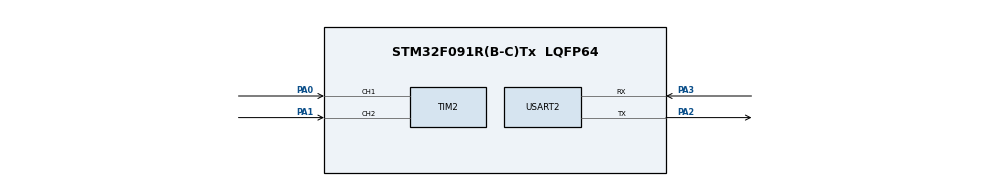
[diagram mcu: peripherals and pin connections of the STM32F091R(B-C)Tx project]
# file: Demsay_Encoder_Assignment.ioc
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Mcu.Family=STM32F0
Mcu.Name=STM32F091R(B-C)Tx
Mcu.Package=LQFP64
NVIC.TIM3_IRQn=true\:0\:0\:false\:false\:true\:true\:true\:true
PA0.Signal=S_TIM2_CH1_ETR
PA1.Signal=S_TIM2_CH2
PA13.Mode=Serial_Wire
PA13.Signal=SYS_SWDIO
PA14.Mode=Serial_Wire
PA14.Signal=SYS_SWCLK
PA2.Mode=Asynchronous
PA2.Signal=USART2_TX
PA3.Mode=Asynchronous
PA3.Signal=USART2_RX
ProjectManager.HeapSize=0x200
ProjectManager.StackSize=0x400
ProjectManager.TargetToolchain=STM32CubeIDE
SH.S_TIM2_CH1_ETR.0=TIM2_CH1,Encoder_Interface
SH.S_TIM2_CH2.0=TIM2_CH2,Encoder_Interface
TIM2.EncoderMode=TIM_ENCODERMODE_TI12
TIM2.IC1Filter=4
TIM2.IC2Filter=4
TIM3.Period=999
TIM3.Prescaler=7999
USART2.VirtualMode-Asynchronous=VM_ASYNC
VP_TIM3_VS_ClockSourceINT.Mode=Internal
board=custom

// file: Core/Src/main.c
/* USER CODE BEGIN Header */
/**
  ******************************************************************************
  * @file           : main.c
  * @brief          : Main program body
  ******************************************************************************
  * @attention
  *
  * Copyright (c) 2026 STMicroelectronics.
  * All rights reserved.
  *
  * This software is licensed under terms that can be found in the LICENSE file
  * in the root directory of this software component.
  * If no LICENSE file comes with this software, it is provided AS-IS.
  *
  ******************************************************************************
  */
/* USER CODE END Header */
#include "main.h"
#include "tim.h"
#include "usart.h"
#include "gpio.h"

/* USER CODE BEGIN Includes */

#include "encoder.h"
#include <stdio.h>

/* USER CODE END Includes */

/* USER CODE BEGIN PV */

static EncoderData_t encoder_data;
static volatile uint8_t measurement_due = 0U;
static char uart_tx_buffer[128];

/* USER CODE END PV */

void SystemClock_Config(void);
/* USER CODE BEGIN PFP */

static void Encoder_ProcessAndTransmit(void);

/* USER CODE END PFP */

int main(void)
{

  /* MCU Configuration--------------------------------------------------------*/

  /* Reset of all peripherals, Initializes the Flash interface and the Systick. */
  HAL_Init();

  /* Configure the system clock */
  SystemClock_Config();

  /* Initialize all configured peripherals */
  MX_GPIO_Init();
  MX_TIM2_Init();
  MX_TIM3_Init();
  MX_USART2_UART_Init();
  /* USER CODE BEGIN 2 */

  __HAL_TIM_SET_COUNTER(&htim2, 0U);
  Encoder_Init(&encoder_data, __HAL_TIM_GET_COUNTER(&htim2));

  if (HAL_TIM_Encoder_Start(&htim2, TIM_CHANNEL_ALL) != HAL_OK)
  {
      Error_Handler();
  }

  if (HAL_TIM_Base_Start_IT(&htim3) != HAL_OK)
  {
      Error_Handler();
  }
  /* USER CODE END 2 */

  /* Infinite loop */
  while (1)
  {

    /* USER CODE BEGIN 3 */

	  if (measurement_due != 0U)
	  {
	      measurement_due = 0U;
	      Encoder_ProcessAndTransmit();
	  }
  }
  /* USER CODE END 3 */
}

void SystemClock_Config(void)
{
  RCC_OscInitTypeDef RCC_OscInitStruct = {0};
  RCC_ClkInitTypeDef RCC_ClkInitStruct = {0};
  RCC_PeriphCLKInitTypeDef PeriphClkInit = {0};

  /** Initializes the RCC Oscillators according to the specified parameters
  * in the RCC_OscInitTypeDef structure.
  */
  RCC_OscInitStruct.OscillatorType = RCC_OSCILLATORTYPE_HSI;
  RCC_OscInitStruct.HSIState = RCC_HSI_ON;
  RCC_OscInitStruct.HSICalibrationValue = RCC_HSICALIBRATION_DEFAULT;
  RCC_OscInitStruct.PLL.PLLState = RCC_PLL_NONE;
  if (HAL_RCC_OscConfig(&RCC_OscInitStruct) != HAL_OK)
  {
    Error_Handler();
  }

  /** Initializes the CPU, AHB and APB buses clocks
  */
  RCC_ClkInitStruct.ClockType = RCC_CLOCKTYPE_HCLK|RCC_CLOCKTYPE_SYSCLK
                              |RCC_CLOCKTYPE_PCLK1;
  RCC_ClkInitStruct.SYSCLKSource = RCC_SYSCLKSOURCE_HSI;
  RCC_ClkInitStruct.AHBCLKDivider = RCC_SYSCLK_DIV1;
  RCC_ClkInitStruct.APB1CLKDivider = RCC_HCLK_DIV1;

  if (HAL_RCC_ClockConfig(&RCC_ClkInitStruct, FLASH_LATENCY_0) != HAL_OK)
  {
    Error_Handler();
  }
  PeriphClkInit.PeriphClockSelection = RCC_PERIPHCLK_USART2;
  PeriphClkInit.Usart2ClockSelection = RCC_USART2CLKSOURCE_PCLK1;
  if (HAL_RCCEx_PeriphCLKConfig(&PeriphClkInit) != HAL_OK)
  {
    Error_Handler();
  }
}

/* USER CODE BEGIN 4 */

void HAL_TIM_PeriodElapsedCallback(TIM_HandleTypeDef *htim)
{
    if (htim->Instance == TIM3)
    {
        measurement_due = 1U;
    }
}

static void Encoder_ProcessAndTransmit(void)
{
    uint32_t current_counter;
    uint32_t rpm_integer;
    uint32_t rpm_fraction;
    uint16_t uart_length;
    int message_length;

    current_counter = __HAL_TIM_GET_COUNTER(&htim2);
    Encoder_Update(&encoder_data, current_counter);

    rpm_integer = encoder_data.rpm_x100 / 100U;
    rpm_fraction = encoder_data.rpm_x100 % 100U;

    message_length = snprintf(
        uart_tx_buffer,
        sizeof(uart_tx_buffer),
        "Pulse: %ld, Total Pulse: %lld, Direction: %s, RPM: %lu.%02lu\r\n",
        (long)encoder_data.delta_pulses,
        (long long)encoder_data.total_pulses,
        Encoder_DirectionToString(encoder_data.direction),
        (unsigned long)rpm_integer,
        (unsigned long)rpm_fraction);

    if (message_length > 0)
    {
        if (message_length < (int)sizeof(uart_tx_buffer))
        {
            uart_length = (uint16_t)message_length;
        }
        else
        {
            uart_length = (uint16_t)(sizeof(uart_tx_buffer) - 1U);
        }

        if (HAL_UART_Transmit(
                &huart2,
                (uint8_t *)uart_tx_buffer,
                uart_length,
                100U) != HAL_OK)
        {
            Error_Handler();
        }
    }
}

/* USER CODE END 4 */

void Error_Handler(void)
{
  __disable_irq();
  while (1)
  {
  }
}
